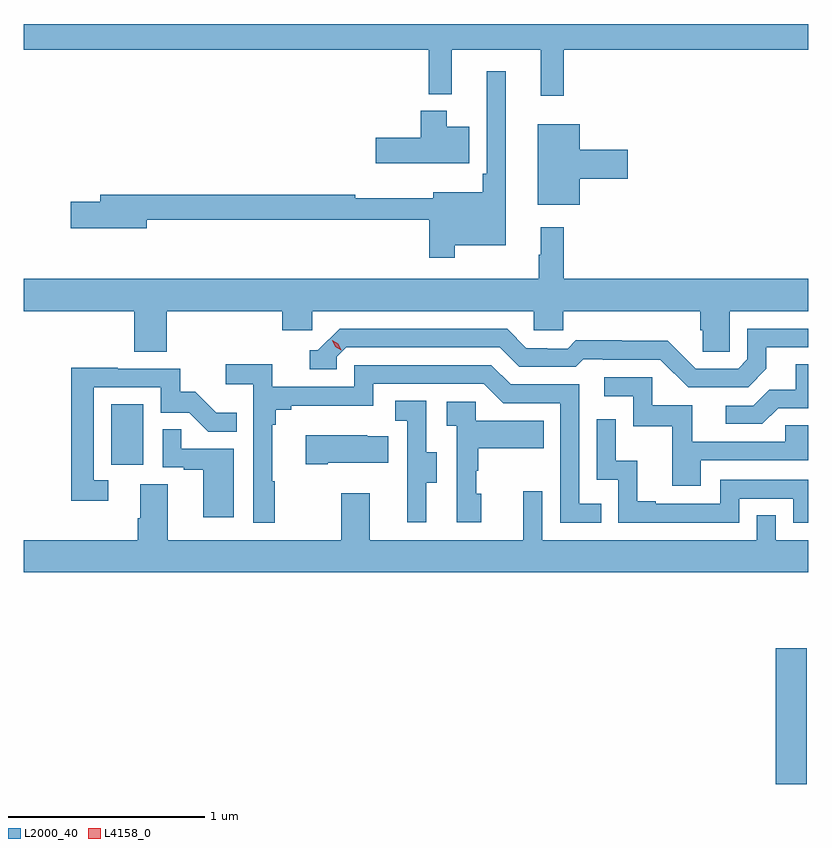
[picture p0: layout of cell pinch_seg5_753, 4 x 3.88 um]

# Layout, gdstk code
import gdstk
lib = gdstk.Library(unit=1e-6, precision=1e-09)
def R(c, l, rs):  # rectangles x0, y0, x1, y1
    for r in rs: c.add(gdstk.rectangle(r[:2], r[2:], *l))
def P(c, l, *ps):  # polygons
    for p in ps: c.add(gdstk.Polygon(p, *l))
L2000_40 = (2000, 40)
L4158_0 = (4158, 0)

pinch_seg5_753 = lib.new_cell('pinch_seg5_753')
R(pinch_seg5_753, L2000_40, [(834.485,911.625,834.645,912.316), (831.098,913.254,831.262,913.561)])
P(pinch_seg5_753, L2000_40, [(833.405,915.368),(834.652,915.368),(834.652,915.5),(830.652,915.5),(830.652,915.368),(832.717,915.368),(832.717,915.143),(832.835,915.143),(832.835,915.368),(833.288,915.368),(833.288,915.135),(833.405,915.135)],
  [(832.849,914.372),(833.11,914.372),(833.11,915.259),(833.013,915.259),(833.013,914.737),(832.993,914.737),(832.993,914.641),(832.739,914.641),(832.739,914.611),(832.343,914.611),(832.343,914.63),(831.041,914.63),(831.041,914.594),(830.892,914.594),(830.892,914.459),(831.28,914.459),(831.28,914.502),(832.72,914.502),(832.72,914.307),(832.849,914.307)],
  [(832.924,914.977),(832.81,914.977),(832.81,915.058),(832.676,915.058),(832.676,914.919),(832.446,914.919),(832.446,914.789),(832.924,914.789)],
  [(833.488,914.711),(833.731,914.711),(833.731,914.858),(833.488,914.858),(833.488,914.989),(833.273,914.989),(833.273,914.579),(833.488,914.579)],
  [(831.38,914.036),(831.971,914.036),(831.971,913.938),(832.122,913.938),(832.122,914.036),(833.253,914.036),(833.253,913.938),(833.403,913.938),(833.403,914.036),(834.101,914.036),(834.101,913.938),(834.115,913.938),(834.115,913.828),(834.252,913.828),(834.252,914.036),(834.652,914.036),(834.652,914.2),(833.405,914.2),(833.405,914.464),(833.288,914.464),(833.288,914.324),(833.277,914.324),(833.277,914.2),(830.652,914.2),(830.652,914.036),(831.215,914.036),(831.215,913.828),(831.38,913.828)],
  [(834.439,913.741),(834.439,913.851),(834.652,913.851),(834.652,913.947),(834.342,913.947),(834.342,913.791),(834.294,913.743),(834.078,913.743),(833.936,913.885),(833.7,913.885),(833.7,913.888),(833.467,913.888),(833.425,913.845),(833.322,913.845),(833.322,913.848),(833.215,913.848),(833.116,913.947),(832.263,913.947),(832.152,913.836),(832.109,913.836),(832.109,913.74),(832.248,913.74),(832.248,913.803),(832.296,913.851),(833.079,913.851),(833.178,913.752),(833.467,913.752),(833.506,913.791),(833.605,913.791),(833.605,913.788),(833.898,913.788),(834.039,913.647),(834.345,913.647)],
  [(834.499,913.542),(834.652,913.542),(834.652,913.766),(834.587,913.766),(834.587,913.634),(834.452,913.634),(834.372,913.554),(834.231,913.554),(834.231,913.461),(834.418,913.461)],
  [(831.931,913.169),(831.919,913.169),(831.919,913.457),(831.938,913.457),(831.938,913.534),(832.015,913.534),(832.015,913.553),(832.434,913.553),(832.434,913.665),(832.998,913.665),(833.097,913.566),(833.388,913.566),(833.388,912.957),(833.597,912.957),(833.597,913.053),(833.484,913.053),(833.484,913.662),(833.134,913.662),(833.035,913.761),(832.338,913.761),(832.338,913.65),(831.92,913.65),(831.92,913.766),(831.681,913.766),(831.681,913.664),(831.822,913.664),(831.822,912.957),(831.931,912.957)],
  [(831.082,913.173),(831.009,913.173),(831.009,913.647),(831.351,913.647),(831.351,913.518),(831.495,913.518),(831.593,913.42),(831.737,913.42),(831.737,913.519),(831.633,913.519),(831.526,913.626),(831.45,913.626),(831.45,913.743),(831.131,913.743),(831.131,913.748),(830.893,913.748),(830.893,913.068),(831.082,913.068)],
  [(834.103,913.275),(834.652,913.275),(834.652,913.455),(834.535,913.455),(834.535,913.371),(834.061,913.371),(834.061,913.557),(833.856,913.557),(833.856,913.698),(833.613,913.698),(833.613,913.602),(833.76,913.602),(833.76,913.449),(833.959,913.449),(833.959,913.146),(834.103,913.146)],
  [(832.705,913.162),(832.759,913.162),(832.759,913.317),(832.704,913.317),(832.704,913.58),(832.545,913.58),(832.545,913.477),(832.608,913.477),(832.608,913.173),(832.607,913.173),(832.607,912.96),(832.705,912.96)],
  [(832.984,913.104),(832.959,913.104),(832.959,913.223),(832.969,913.223),(832.969,913.337),(833.303,913.337),(833.303,913.477),(832.956,913.477),(832.956,913.575),(832.809,913.575),(832.809,913.451),(832.86,913.451),(832.86,912.96),(832.984,912.96)],
  [(834.3,913.08),(834.576,913.08),(834.576,912.957),(834.652,912.957),(834.652,913.176),(834.204,913.176),(834.204,913.053),(833.875,913.053),(833.875,913.066),(833.78,913.066),(833.78,913.274),(833.67,913.274),(833.67,913.486),(833.574,913.486),(833.574,913.176),(833.682,913.176),(833.682,912.957),(834.3,912.957)],
  [(831.724,913.335),(831.455,913.335),(831.455,913.433),(831.36,913.433),(831.36,913.239),(831.467,913.239),(831.467,913.227),(831.566,913.227),(831.566,912.984),(831.724,912.984)],
  [(832.201,913.262),(832.511,913.262),(832.511,913.399),(832.403,913.399),(832.403,913.402),(832.089,913.402),(832.089,913.255),(832.201,913.255)],
  [(834.652,912.868),(834.486,912.868),(834.486,912.995),(834.39,912.995),(834.39,912.868),(833.295,912.868),(833.295,913.117),(833.198,913.117),(833.198,912.868),(832.417,912.868),(832.417,913.108),(832.27,913.108),(832.27,912.868),(831.385,912.868),(831.385,913.154),(831.245,913.154),(831.245,912.98),(831.233,912.98),(831.233,912.868),(830.652,912.868),(830.652,912.704),(834.652,912.704)])
P(pinch_seg5_753, L4158_0, [(832.271,913.836),(832.24,913.855),(832.224,913.888),(832.224,913.888),(832.224,913.888),(832.255,913.869),(832.271,913.836),(832.271,913.836)])

lib.write_gds('pinch_seg5_753.gds')
